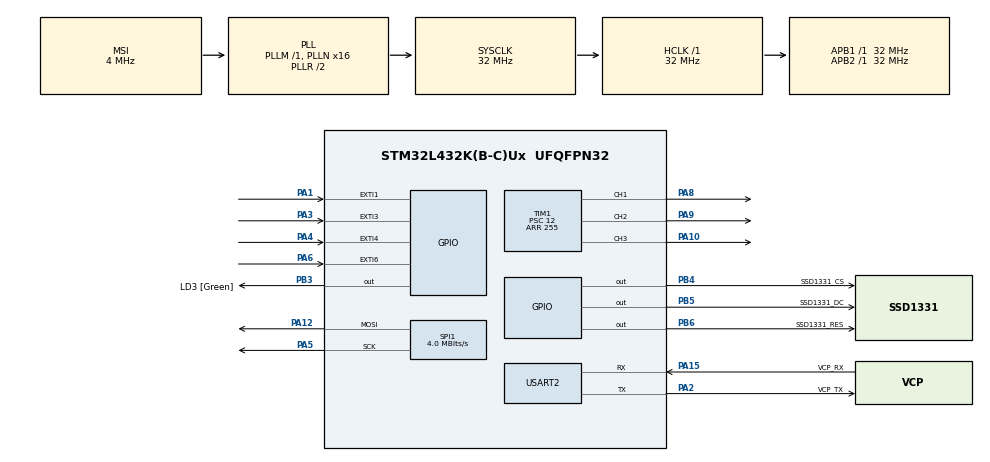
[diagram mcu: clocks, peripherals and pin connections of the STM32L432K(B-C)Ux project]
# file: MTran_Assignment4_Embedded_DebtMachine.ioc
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Mcu.Family=STM32L4
Mcu.Name=STM32L432K(B-C)Ux
Mcu.Package=UFQFPN32
NVIC.EXTI1_IRQn=true\:0\:0\:false\:false\:true\:true\:true\:true
NVIC.EXTI3_IRQn=true\:0\:0\:false\:false\:true\:true\:true\:true
NVIC.EXTI4_IRQn=true\:0\:0\:false\:false\:true\:true\:true\:true
NVIC.EXTI9_5_IRQn=true\:0\:0\:false\:false\:true\:true\:true\:true
NVIC.PriorityGroup=NVIC_PRIORITYGROUP_4
NVIC.TIM2_IRQn=true\:0\:0\:false\:false\:true\:true\:true\:true
PA0.GPIO_Label=MCO [High speed clock in]
PA0.Mode=HSE-External-Clock-Source-for-LittleOrca
PA0.Signal=RCC_CK_IN
PA1.GPIO_ModeDefaultEXTI=GPIO_MODE_IT_FALLING
PA1.GPIO_PuPd=GPIO_PULLUP
PA1.Signal=GPXTI1
PA10.Signal=S_TIM1_CH3
PA12.Mode=TX_Only_Simplex_Unidirect_Master
PA12.Signal=SPI1_MOSI
PA13\ (JTMS-SWDIO).GPIO_Label=SWDIO
PA13\ (JTMS-SWDIO).Mode=Serial_Wire
PA13\ (JTMS-SWDIO).Signal=SYS_JTMS-SWDIO
PA14\ (JTCK-SWCLK).GPIO_Label=SWCLK
PA14\ (JTCK-SWCLK).Mode=Serial_Wire
PA14\ (JTCK-SWCLK).Signal=SYS_JTCK-SWCLK
PA15\ (JTDI).GPIO_Label=VCP_RX
PA15\ (JTDI).Mode=Asynchronous
PA15\ (JTDI).Signal=USART2_RX
PA2.GPIO_Label=VCP_TX
PA2.Mode=Asynchronous
PA2.Signal=USART2_TX
PA3.GPIO_ModeDefaultEXTI=GPIO_MODE_IT_FALLING
PA3.GPIO_PuPd=GPIO_PULLUP
PA3.Signal=GPXTI3
PA4.GPIO_ModeDefaultEXTI=GPIO_MODE_IT_FALLING
PA4.GPIO_PuPd=GPIO_PULLUP
PA4.Signal=GPXTI4
PA5.Mode=TX_Only_Simplex_Unidirect_Master
PA5.Signal=SPI1_SCK
PA6.GPIO_ModeDefaultEXTI=GPIO_MODE_IT_FALLING
PA6.GPIO_PuPd=GPIO_PULLUP
PA6.Signal=GPXTI6
PA8.Signal=S_TIM1_CH1
PA9.Signal=S_TIM1_CH2
PB3\ (JTDO-TRACESWO).GPIO_Label=LD3 [Green]
PB3\ (JTDO-TRACESWO).Signal=GPIO_Output
PB4\ (NJTRST).GPIO_Label=SSD1331_CS
PB4\ (NJTRST).Signal=GPIO_Output
PB5.GPIO_Label=SSD1331_DC
PB5.Signal=GPIO_Output
PB6.GPIO_Label=SSD1331_RES
PB6.Signal=GPIO_Output
PC14-OSC32_IN\ (PC14).Mode=LSE-External-Oscillator
PC14-OSC32_IN\ (PC14).Signal=RCC_OSC32_IN
PC15-OSC32_OUT\ (PC15).Mode=LSE-External-Oscillator
PC15-OSC32_OUT\ (PC15).Signal=RCC_OSC32_OUT
ProjectManager.HeapSize=0x200
ProjectManager.StackSize=0x400
ProjectManager.TargetToolchain=STM32CubeIDE
RCC.ADCFreq_Value=32000000
RCC.AHBFreq_Value=32000000
RCC.APB1Freq_Value=32000000
RCC.APB1TimFreq_Value=32000000
RCC.APB2Freq_Value=32000000
RCC.APB2TimFreq_Value=32000000
RCC.CortexFreq_Value=32000000
RCC.HCLKFreq_Value=32000000
RCC.HSE_VALUE=8000000
RCC.HSI16_VALUE=16000000
RCC.HSI48_VALUE=48000000
RCC.HSI_VALUE=16000000
RCC.MSI_VALUE=4000000
RCC.PLLMUL=RCC_PLLMUL_4
RCC.PLLN=16
RCC.PLLSAI1N=16
RCC.SYSCLKFreq_VALUE=32000000
RCC.SYSCLKSource=RCC_SYSCLKSOURCE_PLLCLK
RCC.USBFreq_Value=32000000
RCC.VCOOutputFreq_Value=64000000
SH.S_TIM1_CH1.0=TIM1_CH1,PWM Generation1 CH1
SH.S_TIM1_CH2.0=TIM1_CH2,PWM Generation2 CH2
SH.S_TIM1_CH3.0=TIM1_CH3,PWM Generation3 CH3
SPI1.BaudRatePrescaler=SPI_BAUDRATEPRESCALER_8
SPI1.CalculateBaudRate=4.0 MBits/s
SPI1.DataSize=SPI_DATASIZE_8BIT
SPI1.Direction=SPI_DIRECTION_2LINES
SPI1.Mode=SPI_MODE_MASTER
SPI1.VirtualType=VM_MASTER
TIM1.Channel-PWM\ Generation1\ CH1=TIM_CHANNEL_1
TIM1.Channel-PWM\ Generation2\ CH2=TIM_CHANNEL_2
TIM1.Channel-PWM\ Generation3\ CH3=TIM_CHANNEL_3
TIM1.Period=255
TIM1.Prescaler=12
TIM1.Pulse-PWM\ Generation3\ CH3=0
TIM2.Channel-PWM\ Generation1\ No\ Output=TIM_CHANNEL_1
TIM2.Period=19
TIM2.Prescaler=31999
USART2.VirtualMode-Asynchronous=VM_ASYNC
VP_TIM1_VS_ClockSourceINT.Mode=Internal
VP_TIM2_VS_ClockSourceINT.Mode=Internal
VP_TIM2_VS_no_output1.Mode=PWM Generation1 No Output
board=NUCLEO-L432KC

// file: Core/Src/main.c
/* USER CODE BEGIN Header */
/**
  ******************************************************************************
  * @file           : main.c
  * @brief          : Main program body
  ******************************************************************************
  * @attention
  *
  * Copyright (c) 2022 STMicroelectronics.
  * All rights reserved.
  *
  * This software is licensed under terms that can be found in the LICENSE file
  * in the root directory of this software component.
  * If no LICENSE file comes with this software, it is provided AS-IS.
  *
  ******************************************************************************
  */

/*
* FILE : main.c
* PROJECT : Temperature Sensor - Assignment #3
* PROGRAMMER : Minh Quan Tran
* FIRST VERSION : 2024-07-20
* DESCRIPTION : This file is the main code file to read an MCP9700A temperature sensor
* and display it to the OLed and RGB Led
*/
/* USER CODE END Header */
#include "main.h"

/* USER CODE BEGIN Includes */
#include "ssd1331.h"
#include "logo.h"
#include "stm32l4xx_hal_tim.h"
#include <string.h>
#include <stdio.h>
#include <stdbool.h>
/* USER CODE END Includes */

/* USER CODE BEGIN PTD */
typedef struct
{
	uint8_t red;
	uint8_t green;
	uint8_t blue;
} RGBColor;

typedef enum
{
	NONE,
	OK,
	CANCLE,
	CHEQUE,
	SAVING,
} pushButtonStateTypeDef;

typedef enum
{
	NOTHING    = 0,
	OK_PIN     = GPIO_PIN_1,
	CANCLE_PIN = GPIO_PIN_3,
	CHEQUE_PIN = GPIO_PIN_4,
	SAVING_PIN = GPIO_PIN_6,
} pushButtonPinTypeDef;
/* USER CODE END PTD */

/* USER CODE BEGIN PD */
#define RED_LED    (RGBColor) {255,0,0}
#define YELLOW_LED (RGBColor) {255,255,0}
#define ORANGE_LED (RGBColor) {255,165,0}
#define BLUE_LED   (RGBColor) {0,0,255}
#define WHITE_LED  (RGBColor) {255,255,255}

#define PIN 1234

#define MATCH 1
#define NOT_MATCH 0

#define BANK_OK 1
#define BANK_NOT_OK 0

/* USER CODE END PD */

SPI_HandleTypeDef hspi1;

TIM_HandleTypeDef htim1;
TIM_HandleTypeDef htim2;

UART_HandleTypeDef huart2;

/* USER CODE BEGIN PV */
volatile pushButtonPinTypeDef 	pinPressed = NONE;
volatile pushButtonStateTypeDef btnState   = NONE;
/* USER CODE END PV */

void SystemClock_Config(void);
static void MX_GPIO_Init(void);
static void MX_USART2_UART_Init(void);
static void MX_SPI1_Init(void);
static void MX_TIM1_Init(void);
static void MX_TIM2_Init(void);

/* USER CODE BEGIN 0 */

float checkIfAmountRec()
{
	float debitAmount = 0;

	int16_t result = 0;

	printf("waiting for debitAmount to be received on serial port\r\n"); //}
	result = scanf("%f", &debitAmount);
	if (result == 0)		//then somehow non-float chars were entered
	{						//and nothing was assigned to %f
		return 0;
	}
	return debitAmount;
}

void displayWelcome(void)
{
	char strBuffer[16] = { 0 };

	ssd1331_clear_screen(BLACK);
	snprintf(strBuffer, 16, "Welcome");
	ssd1331_display_string(0, 0, strBuffer, FONT_1206, WHITE);
}

void displayAmount(float amount)
{
	char strBuffer[16];

	ssd1331_clear_screen(BLACK);
	sprintf(strBuffer, "$%.2f", amount);
	ssd1331_display_string(0, 0, strBuffer, FONT_1206, WHITE);
}

void displayEnterPin(void)
{
	char strBuffer[16];
	ssd1331_clear_screen(BLACK);
	snprintf(strBuffer, 16, "Enter PIN");
	ssd1331_display_string(0, 0, strBuffer, FONT_1206, WHITE);
}

void displayIncorrectPin(void)
{
	char strBuffer[16];
	snprintf(strBuffer, 16, "Incorrect PIN");
	ssd1331_display_string(0, 10, strBuffer, FONT_1206, WHITE);
}

void printReceipt(float amount)
{
	char strBuffer[16];
	char amountstr[9];
	ssd1331_clear_screen(BLACK);
	snprintf(strBuffer, 16, "Success");
	ssd1331_display_string(0, 10, strBuffer, FONT_1206, WHITE);

	sprintf(amountstr,"%.1f",amount);
	snprintf(strBuffer, 7, "Total: ");
	strcat(strBuffer,amountstr);
	ssd1331_display_string(0, 20, strBuffer, FONT_1206, WHITE);
}

void displayWaitingBankReply(void)
{
	char strBuffer[16];

	snprintf(strBuffer, 16, "PIN is correct");
	ssd1331_display_string(0, 10, strBuffer, FONT_1206, WHITE);

	snprintf(strBuffer, 16, "Waiting for Bank");
	ssd1331_display_string(0, 20, strBuffer, FONT_1206, WHITE);
}

void displayTransactionCancle(void)
{
	char strBuffer[16];

	snprintf(strBuffer, 16, "Transaction Err");
	ssd1331_display_string(0, 10, strBuffer, FONT_1206, WHITE);

	snprintf(strBuffer, 16, "Cancle");
	ssd1331_display_string(0, 20, strBuffer, FONT_1206, WHITE);
}
/* FUNCTION     : displayOkOrCancel()
* DESCRIPTION   : displays "OK or Cancel?" on line 2 of OLED
* PARAMETERS    : none
* RETURNS       : nothing.
*/
void displayOkCancel(void) {
	char strBuffer[16];
	sprintf(strBuffer, "OK or Cancel?");
	ssd1331_display_string(0, 10, strBuffer, FONT_1206, WHITE);
}

/* FUNCTION     : displayTransactionCancel()
* DESCRIPTION   : displays "Transaction Cancle" on line 2 of OLED
* PARAMETERS    : none
* RETURNS       : nothing.
*/
void displayTransactionCancel(void) {
	char strBuffer[16];
	ssd1331_clear_screen(BLACK);
	sprintf(strBuffer, "Transaction Cancle");
	ssd1331_display_string(0, 16, strBuffer, FONT_1206, WHITE);
}

/* FUNCTION     : displayCheuqingOrSaving()
* DESCRIPTION   : displays "Chequing or Saving?" on line 2 of OLED
* PARAMETERS    : none
* RETURNS       : nothing.
*/
void displayCheuqingOrSaving(void) {
	char strBuffer[16];
	ssd1331_clear_screen(BLACK);
	sprintf(strBuffer, "Chequing or Saving?");
	ssd1331_display_string(0, 10, strBuffer, FONT_1206, WHITE);
}

uint16_t getUserPin(void)
{
	uint16_t usrPin = 0;
	int16_t  result = 0;

	printf("waiting for PIN to be received on serial port\r\n"); //}
	scanf("%d", &usrPin);

	return usrPin;
}

bool checkPin(uint16_t usrPin)
{
	if (usrPin == PIN)
	{
		return MATCH;
	}
	else
	{
		return NOT_MATCH;
	}
}

bool checkBankApprove(void)
{
	char str[16];
	scanf("%s", &str);
	if (strcmp(str, "OK") == 0)
	{
		return BANK_OK;
	}
	else
	{
		return BANK_NOT_OK;
	}
}
/* FUNCTION : HAL_GPIO_EXTI_Callback
*
* DESCRIPTION : This function is used to call back whenever there an external interrupt
* happen. It used to start the timer to count for 20ms
*
* PARAMETERS :
*
* uint16_t GPIO_Pin: PIN number
*
* RETURNS : VOID
*
*/
void HAL_GPIO_EXTI_Callback(uint16_t GPIO_Pin)
{
	pinPressed = GPIO_Pin;

	// Start a timer to handle debounce
    HAL_TIM_Base_Start_IT(&htim2);
}

/* FUNCTION : HAL_TIM_PeriodElapsedCallback
*
* DESCRIPTION : This function is used to check the button state after
* 20ms to see if the button remained at a previous state (debounce)
*
* PARAMETERS :
*
* TIM_HandleTypeDef *htim: timer
*
* RETURNS : VOID
*
*/
void HAL_TIM_PeriodElapsedCallback(TIM_HandleTypeDef *htim)
{
    if (htim->Instance == TIM2)
    {
        // Stop the timer
        HAL_TIM_Base_Stop_IT(&htim2);

        // Check the button state after debounce time
        if (pinPressed = OK_PIN && HAL_GPIO_ReadPin(GPIOA,OK_PIN) == GPIO_PIN_RESET)
        {
        	// Button is still pressed, call the callback function
        	btnState = OK;
        }
        else if (pinPressed = CANCLE_PIN && HAL_GPIO_ReadPin(GPIOA,CANCLE_PIN) == GPIO_PIN_RESET)
        {
        	btnState = CANCLE;
        }
        else if (pinPressed = CHEQUE_PIN && HAL_GPIO_ReadPin(GPIOA,CHEQUE_PIN) == GPIO_PIN_RESET)
        {
            btnState = CHEQUE;
        }
        else if (pinPressed = SAVING_PIN && HAL_GPIO_ReadPin(GPIOA,SAVING_PIN) == GPIO_PIN_RESET)
        {
        	btnState = SAVING;
        }
    }
}
/* USER CODE END 0 */

int main(void)
{
  /* USER CODE BEGIN 1 */
	int transactionState = 1;
	float amount     = 0;
	uint16_t usrPin   = 0;
	uint8_t attempt   = 3;

	bool correctPin  = false;
	bool bankApprove = false;
  /* USER CODE END 1 */

  /* MCU Configuration--------------------------------------------------------*/

  /* Reset of all peripherals, Initializes the Flash interface and the Systick. */
  HAL_Init();

  /* Configure the system clock */
  SystemClock_Config();

  /* Initialize all configured peripherals */
  MX_GPIO_Init();
  MX_USART2_UART_Init();
  MX_SPI1_Init();
  MX_TIM1_Init();
  MX_TIM2_Init();
  /* USER CODE BEGIN 2 */

  //Start timer 1
  HAL_TIM_PWM_Start(&htim1, TIM_CHANNEL_1);
  HAL_TIM_PWM_Start(&htim1, TIM_CHANNEL_2);
  HAL_TIM_PWM_Start(&htim1, TIM_CHANNEL_3);

  // Start OLed and Display a green rectangle
  ssd1331_init();
  ssd1331_clear_screen(BLACK);
  /* USER CODE END 2 */

  /* Infinite loop */
  /* USER CODE BEGIN WHILE */
  while (1)
  {
	  switch(transactionState)
	  {
		  case 1:  // Display Welcome and user Balance
			  displayWelcome();
			  // Receive balance from Putty/Tera Term
			  amount = checkIfAmountRec();

			  if (amount != 0)
			  {
				  displayAmount(amount);
				  displayOkCancel();
				  transactionState = 2;
			  }
			  break;
		  case 2: // Check OK or Cancle?
			  if (btnState != NOTHING)
			  {
				  if (btnState == CANCLE)
				  {
					  //then cancel was pressed.
					  printf("Cancel Pressed\r\n");
					  transactionState = 7;
					  break;
				  }
				  else if (btnState == OK)
				  {
					  //then ok pressed
					  printf("OK Pressed\r\n");
					  displayCheuqingOrSaving();
					  transactionState = 3;
					  break;
				  }
				  break;
			  }

		  case 3: //Check Chequings or Savings
			  if (btnState != NOTHING)
			  {
				  if (btnState == CANCLE)
				  {
					  //then cancel was pressed.
					  printf("Cancel Pressed\r\n");
					  transactionState = 7;
				  }
				  else if (btnState == CHEQUE)
				  {
					  //then ok pressed
					  printf("Cheque Pressed\r\n");
					  transactionState = 4;
				  }
				  else if (btnState == SAVING)
				  {
					  //then ok pressed
					  printf("Saving Pressed\r\n");
					  transactionState = 4;
				  }
			  }
			  break;
		  case 4: // User enter PIN

			  displayEnterPin();
			  usrPin = getUserPin();
			  displayOkCancel();
			  correctPin = checkPin(attempt);
			  if (correctPin)
			  {
				  transactionState = 5;
				  break;
			  }
			  else
			  {
				  usrPin = NULL;
				  displayIncorrectPin();
				  attempt--;
			  }

			  // No Attempt left
			  if (attempt == 0)
			  {
				  transactionState = 7;
			  }
			  break;
		  case 5:  //Check OK or Cancle
			  if (btnState != NOTHING)
			  {
				  if (btnState == CANCLE)
				  {
					  //then cancel was pressed.
					  printf("Cancel Pressed\r\n");
					  transactionState = 7;
				  }
				  else if (btnState == OK)
				  {
					  //then ok pressed
					  printf("OK Pressed\r\n");
					  displayWaitingBankReply();
					  transactionState = 6;
				  }
			  }
			  break;

		  case 6: // Send transaction detail to the bank
			  bankApprove = checkBankApprove();
			  if (bankApprove)
			  {
				  printReceipt(amount);
				  HAL_Delay(3000);
				  transactionState = 1;
			  }
			  else
			  {
				  transactionState = 6;
			  }
			  break;
		  case 7:
			  displayTransactionCancle();
			  HAL_Delay(2000); // Delay 2s
			  transactionState = 1;
			  break;
		  default:
			  break;
	  }

    /* USER CODE END WHILE */

    /* USER CODE BEGIN 3 */
  }
  return 0;
  /* USER CODE END 3 */
}

void SystemClock_Config(void)
{
  RCC_OscInitTypeDef RCC_OscInitStruct = {0};
  RCC_ClkInitTypeDef RCC_ClkInitStruct = {0};

  /** Configure the main internal regulator output voltage
  */
  if (HAL_PWREx_ControlVoltageScaling(PWR_REGULATOR_VOLTAGE_SCALE1) != HAL_OK)
  {
    Error_Handler();
  }

  /** Configure LSE Drive Capability
  */
  HAL_PWR_EnableBkUpAccess();
  __HAL_RCC_LSEDRIVE_CONFIG(RCC_LSEDRIVE_LOW);

  /** Initializes the RCC Oscillators according to the specified parameters
  * in the RCC_OscInitTypeDef structure.
  */
  RCC_OscInitStruct.OscillatorType = RCC_OSCILLATORTYPE_LSE|RCC_OSCILLATORTYPE_MSI;
  RCC_OscInitStruct.LSEState = RCC_LSE_ON;
  RCC_OscInitStruct.MSIState = RCC_MSI_ON;
  RCC_OscInitStruct.MSICalibrationValue = 0;
  RCC_OscInitStruct.MSIClockRange = RCC_MSIRANGE_6;
  RCC_OscInitStruct.PLL.PLLState = RCC_PLL_ON;
  RCC_OscInitStruct.PLL.PLLSource = RCC_PLLSOURCE_MSI;
  RCC_OscInitStruct.PLL.PLLM = 1;
  RCC_OscInitStruct.PLL.PLLN = 16;
  RCC_OscInitStruct.PLL.PLLP = RCC_PLLP_DIV7;
  RCC_OscInitStruct.PLL.PLLQ = RCC_PLLQ_DIV2;
  RCC_OscInitStruct.PLL.PLLR = RCC_PLLR_DIV2;
  if (HAL_RCC_OscConfig(&RCC_OscInitStruct) != HAL_OK)
  {
    Error_Handler();
  }

  /** Initializes the CPU, AHB and APB buses clocks
  */
  RCC_ClkInitStruct.ClockType = RCC_CLOCKTYPE_HCLK|RCC_CLOCKTYPE_SYSCLK
                              |RCC_CLOCKTYPE_PCLK1|RCC_CLOCKTYPE_PCLK2;
  RCC_ClkInitStruct.SYSCLKSource = RCC_SYSCLKSOURCE_PLLCLK;
  RCC_ClkInitStruct.AHBCLKDivider = RCC_SYSCLK_DIV1;
  RCC_ClkInitStruct.APB1CLKDivider = RCC_HCLK_DIV1;
  RCC_ClkInitStruct.APB2CLKDivider = RCC_HCLK_DIV1;

  if (HAL_RCC_ClockConfig(&RCC_ClkInitStruct, FLASH_LATENCY_1) != HAL_OK)
  {
    Error_Handler();
  }

  /** Enable MSI Auto calibration
  */
  HAL_RCCEx_EnableMSIPLLMode();
}

static void MX_SPI1_Init(void)
{

  /* SPI1 parameter configuration*/
  hspi1.Instance = SPI1;
  hspi1.Init.Mode = SPI_MODE_MASTER;
  hspi1.Init.Direction = SPI_DIRECTION_2LINES;
  hspi1.Init.DataSize = SPI_DATASIZE_8BIT;
  hspi1.Init.CLKPolarity = SPI_POLARITY_LOW;
  hspi1.Init.CLKPhase = SPI_PHASE_1EDGE;
  hspi1.Init.NSS = SPI_NSS_SOFT;
  hspi1.Init.BaudRatePrescaler = SPI_BAUDRATEPRESCALER_8;
  hspi1.Init.FirstBit = SPI_FIRSTBIT_MSB;
  hspi1.Init.TIMode = SPI_TIMODE_DISABLE;
  hspi1.Init.CRCCalculation = SPI_CRCCALCULATION_DISABLE;
  hspi1.Init.CRCPolynomial = 7;
  hspi1.Init.CRCLength = SPI_CRC_LENGTH_DATASIZE;
  hspi1.Init.NSSPMode = SPI_NSS_PULSE_ENABLE;
  if (HAL_SPI_Init(&hspi1) != HAL_OK)
  {
    Error_Handler();
  }

}

static void MX_TIM1_Init(void)
{

  TIM_ClockConfigTypeDef sClockSourceConfig = {0};
  TIM_MasterConfigTypeDef sMasterConfig = {0};
  TIM_OC_InitTypeDef sConfigOC = {0};
  TIM_BreakDeadTimeConfigTypeDef sBreakDeadTimeConfig = {0};

  htim1.Instance = TIM1;
  htim1.Init.Prescaler = 12;
  htim1.Init.CounterMode = TIM_COUNTERMODE_UP;
  htim1.Init.Period = 255;
  htim1.Init.ClockDivision = TIM_CLOCKDIVISION_DIV1;
  htim1.Init.RepetitionCounter = 0;
  htim1.Init.AutoReloadPreload = TIM_AUTORELOAD_PRELOAD_DISABLE;
  if (HAL_TIM_Base_Init(&htim1) != HAL_OK)
  {
    Error_Handler();
  }
  sClockSourceConfig.ClockSource = TIM_CLOCKSOURCE_INTERNAL;
  if (HAL_TIM_ConfigClockSource(&htim1, &sClockSourceConfig) != HAL_OK)
  {
    Error_Handler();
  }
  if (HAL_TIM_PWM_Init(&htim1) != HAL_OK)
  {
    Error_Handler();
  }
  sMasterConfig.MasterOutputTrigger = TIM_TRGO_RESET;
  sMasterConfig.MasterOutputTrigger2 = TIM_TRGO2_RESET;
  sMasterConfig.MasterSlaveMode = TIM_MASTERSLAVEMODE_DISABLE;
  if (HAL_TIMEx_MasterConfigSynchronization(&htim1, &sMasterConfig) != HAL_OK)
  {
    Error_Handler();
  }
  sConfigOC.OCMode = TIM_OCMODE_PWM1;
  sConfigOC.Pulse = 0;
  sConfigOC.OCPolarity = TIM_OCPOLARITY_HIGH;
  sConfigOC.OCNPolarity = TIM_OCNPOLARITY_HIGH;
  sConfigOC.OCFastMode = TIM_OCFAST_DISABLE;
  sConfigOC.OCIdleState = TIM_OCIDLESTATE_RESET;
  sConfigOC.OCNIdleState = TIM_OCNIDLESTATE_RESET;
  if (HAL_TIM_PWM_ConfigChannel(&htim1, &sConfigOC, TIM_CHANNEL_1) != HAL_OK)
  {
    Error_Handler();
  }
  if (HAL_TIM_PWM_ConfigChannel(&htim1, &sConfigOC, TIM_CHANNEL_2) != HAL_OK)
  {
    Error_Handler();
  }
  if (HAL_TIM_PWM_ConfigChannel(&htim1, &sConfigOC, TIM_CHANNEL_3) != HAL_OK)
  {
    Error_Handler();
  }
  sBreakDeadTimeConfig.OffStateRunMode = TIM_OSSR_DISABLE;
  sBreakDeadTimeConfig.OffStateIDLEMode = TIM_OSSI_DISABLE;
  sBreakDeadTimeConfig.LockLevel = TIM_LOCKLEVEL_OFF;
  sBreakDeadTimeConfig.DeadTime = 0;
  sBreakDeadTimeConfig.BreakState = TIM_BREAK_DISABLE;
  sBreakDeadTimeConfig.BreakPolarity = TIM_BREAKPOLARITY_HIGH;
  sBreakDeadTimeConfig.BreakFilter = 0;
  sBreakDeadTimeConfig.Break2State = TIM_BREAK2_DISABLE;
  sBreakDeadTimeConfig.Break2Polarity = TIM_BREAK2POLARITY_HIGH;
  sBreakDeadTimeConfig.Break2Filter = 0;
  sBreakDeadTimeConfig.AutomaticOutput = TIM_AUTOMATICOUTPUT_DISABLE;
  if (HAL_TIMEx_ConfigBreakDeadTime(&htim1, &sBreakDeadTimeConfig) != HAL_OK)
  {
    Error_Handler();
  }
  HAL_TIM_MspPostInit(&htim1);

}

static void MX_TIM2_Init(void)
{

  TIM_ClockConfigTypeDef sClockSourceConfig = {0};
  TIM_MasterConfigTypeDef sMasterConfig = {0};
  TIM_OC_InitTypeDef sConfigOC = {0};

  htim2.Instance = TIM2;
  htim2.Init.Prescaler = 31999;
  htim2.Init.CounterMode = TIM_COUNTERMODE_UP;
  htim2.Init.Period = 19;
  htim2.Init.ClockDivision = TIM_CLOCKDIVISION_DIV1;
  htim2.Init.AutoReloadPreload = TIM_AUTORELOAD_PRELOAD_DISABLE;
  if (HAL_TIM_Base_Init(&htim2) != HAL_OK)
  {
    Error_Handler();
  }
  sClockSourceConfig.ClockSource = TIM_CLOCKSOURCE_INTERNAL;
  if (HAL_TIM_ConfigClockSource(&htim2, &sClockSourceConfig) != HAL_OK)
  {
    Error_Handler();
  }
  if (HAL_TIM_PWM_Init(&htim2) != HAL_OK)
  {
    Error_Handler();
  }
  sMasterConfig.MasterOutputTrigger = TIM_TRGO_RESET;
  sMasterConfig.MasterSlaveMode = TIM_MASTERSLAVEMODE_DISABLE;
  if (HAL_TIMEx_MasterConfigSynchronization(&htim2, &sMasterConfig) != HAL_OK)
  {
    Error_Handler();
  }
  sConfigOC.OCMode = TIM_OCMODE_PWM1;
  sConfigOC.Pulse = 0;
  sConfigOC.OCPolarity = TIM_OCPOLARITY_HIGH;
  sConfigOC.OCFastMode = TIM_OCFAST_DISABLE;
  if (HAL_TIM_PWM_ConfigChannel(&htim2, &sConfigOC, TIM_CHANNEL_1) != HAL_OK)
  {
    Error_Handler();
  }

}

static void MX_USART2_UART_Init(void)
{

  huart2.Instance = USART2;
  huart2.Init.BaudRate = 115200;
  huart2.Init.WordLength = UART_WORDLENGTH_8B;
  huart2.Init.StopBits = UART_STOPBITS_1;
  huart2.Init.Parity = UART_PARITY_NONE;
  huart2.Init.Mode = UART_MODE_TX_RX;
  huart2.Init.HwFlowCtl = UART_HWCONTROL_NONE;
  huart2.Init.OverSampling = UART_OVERSAMPLING_16;
  huart2.Init.OneBitSampling = UART_ONE_BIT_SAMPLE_DISABLE;
  huart2.AdvancedInit.AdvFeatureInit = UART_ADVFEATURE_NO_INIT;
  if (HAL_UART_Init(&huart2) != HAL_OK)
  {
    Error_Handler();
  }

}

static void MX_GPIO_Init(void)
{
  GPIO_InitTypeDef GPIO_InitStruct = {0};

  /* GPIO Ports Clock Enable */
  __HAL_RCC_GPIOC_CLK_ENABLE();
  __HAL_RCC_GPIOA_CLK_ENABLE();
  __HAL_RCC_GPIOB_CLK_ENABLE();

  /*Configure GPIO pin Output Level */
  HAL_GPIO_WritePin(GPIOB, LD3_Pin|SSD1331_CS_Pin|SSD1331_DC_Pin|SSD1331_RES_Pin, GPIO_PIN_RESET);

  /*Configure GPIO pins : PA1 PA3 PA4 PA6 */
  GPIO_InitStruct.Pin = GPIO_PIN_1|GPIO_PIN_3|GPIO_PIN_4|GPIO_PIN_6;
  GPIO_InitStruct.Mode = GPIO_MODE_IT_FALLING;
  GPIO_InitStruct.Pull = GPIO_PULLUP;
  HAL_GPIO_Init(GPIOA, &GPIO_InitStruct);

  /*Configure GPIO pins : LD3_Pin SSD1331_CS_Pin SSD1331_DC_Pin SSD1331_RES_Pin */
  GPIO_InitStruct.Pin = LD3_Pin|SSD1331_CS_Pin|SSD1331_DC_Pin|SSD1331_RES_Pin;
  GPIO_InitStruct.Mode = GPIO_MODE_OUTPUT_PP;
  GPIO_InitStruct.Pull = GPIO_NOPULL;
  GPIO_InitStruct.Speed = GPIO_SPEED_FREQ_LOW;
  HAL_GPIO_Init(GPIOB, &GPIO_InitStruct);

  /* EXTI interrupt init*/
  HAL_NVIC_SetPriority(EXTI1_IRQn, 0, 0);
  HAL_NVIC_EnableIRQ(EXTI1_IRQn);

  HAL_NVIC_SetPriority(EXTI3_IRQn, 0, 0);
  HAL_NVIC_EnableIRQ(EXTI3_IRQn);

  HAL_NVIC_SetPriority(EXTI4_IRQn, 0, 0);
  HAL_NVIC_EnableIRQ(EXTI4_IRQn);

  HAL_NVIC_SetPriority(EXTI9_5_IRQn, 0, 0);
  HAL_NVIC_EnableIRQ(EXTI9_5_IRQn);

}

void Error_Handler(void)
{
  __disable_irq();
  while (1)
  {
  }
}
